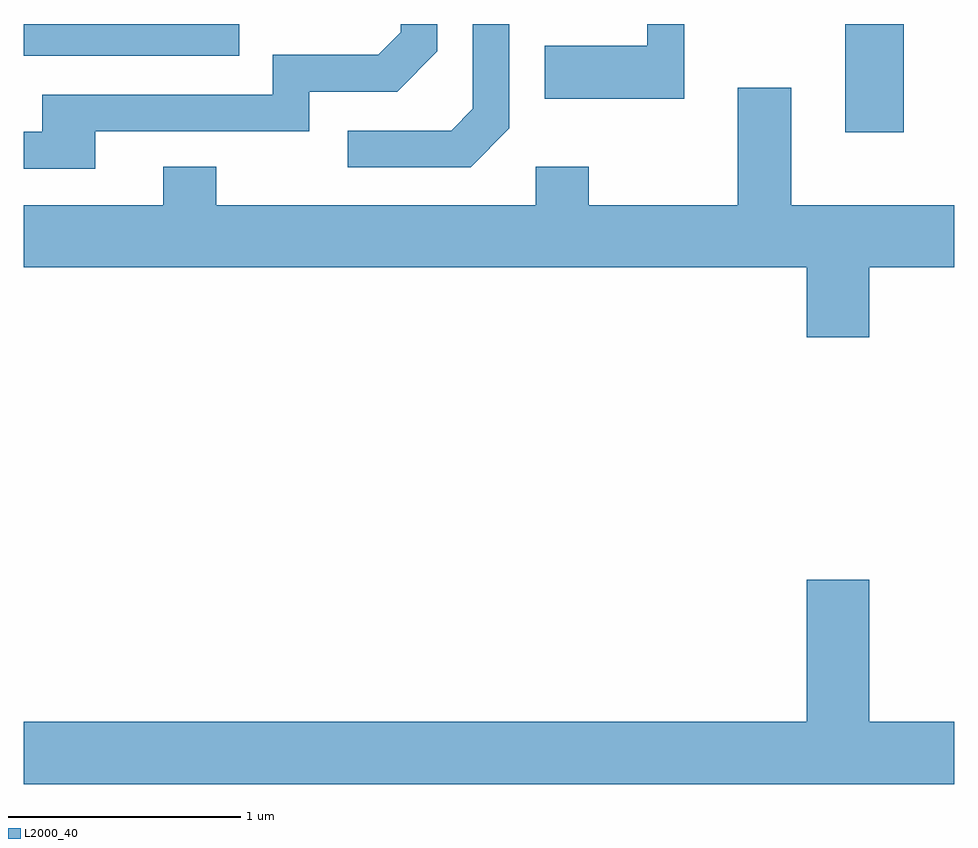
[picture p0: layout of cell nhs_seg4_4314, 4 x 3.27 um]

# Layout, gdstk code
import gdstk
lib = gdstk.Library(unit=1e-6, precision=1e-09)
def R(c, l, rs):  # rectangles x0, y0, x1, y1
    for r in rs: c.add(gdstk.rectangle(r[:2], r[2:], *l))
def P(c, l, *ps):  # polygons
    for p in ps: c.add(gdstk.Polygon(p, *l))
L2000_40 = (2000, 40)

nhs_seg4_4314 = lib.new_cell('nhs_seg4_4314')
R(nhs_seg4_4314, L2000_40, [(315.141,1317.516,315.394,1317.982), (311.611,1317.846,312.538,1317.982)])
P(nhs_seg4_4314, L2000_40, [(313.699,1317.534),(313.699,1317.982),(313.541,1317.982),(313.541,1317.617),(313.449,1317.524),(313.003,1317.524),(313.003,1317.366),(313.532,1317.366)],
  [(314.449,1317.982),(314.291,1317.982),(314.291,1317.889),(313.851,1317.889),(313.851,1317.661),(314.449,1317.661)],
  [(311.919,1317.521),(312.839,1317.521),(312.839,1317.691),(313.217,1317.691),(313.389,1317.864),(313.389,1317.982),(313.231,1317.982),(313.231,1317.947),(313.134,1317.849),(312.681,1317.849),(312.681,1317.679),(311.691,1317.679),(311.691,1317.519),(311.611,1317.519),(311.611,1317.361),(311.919,1317.361)],
  [(315.244,1316.936),(315.611,1316.936),(315.611,1317.204),(314.909,1317.204),(314.909,1317.709),(314.681,1317.709),(314.681,1317.204),(314.039,1317.204),(314.039,1317.369),(313.811,1317.369),(313.811,1317.204),(312.439,1317.204),(312.439,1317.369),(312.211,1317.369),(312.211,1317.204),(311.611,1317.204),(311.611,1316.936),(314.976,1316.936),(314.976,1316.636),(315.244,1316.636)],
  [(315.611,1314.984),(315.244,1314.984),(315.244,1315.594),(314.976,1315.594),(314.976,1314.984),(311.611,1314.984),(311.611,1314.716),(315.611,1314.716)])

lib.write_gds('nhs_seg4_4314.gds')
